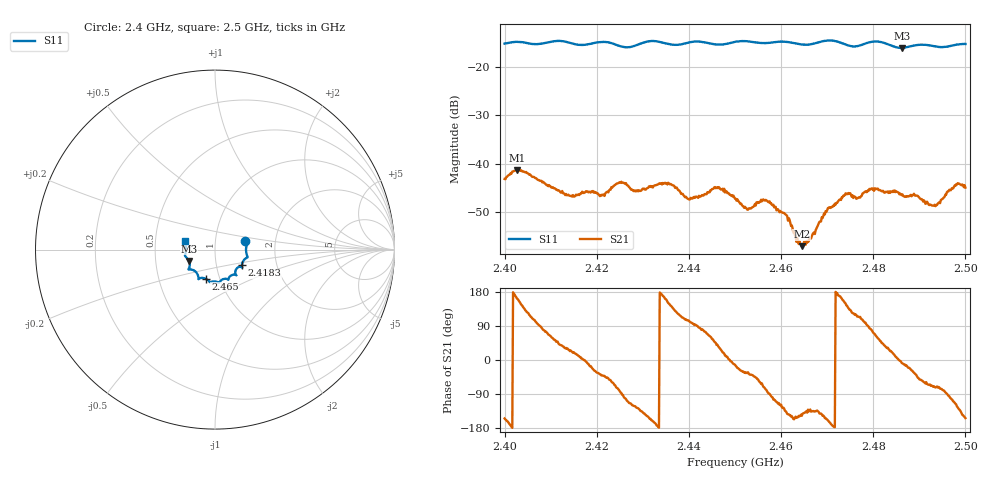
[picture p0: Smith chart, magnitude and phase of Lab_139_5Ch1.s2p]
# Hz S RI R 50
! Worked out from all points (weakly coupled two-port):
!   601 points, 2.4 GHz to 2.5 GHz, reference 50 ohm
!   highest |S21| = -41.30 dB at 2.4027 GHz (marker M1); lowest = -57.1 dB at 2.4645 GHz (marker M2)
!   lowest |S11| = -16.0 dB at 2.4862 GHz (marker M3), VSWR 1.37, Z = 37.1 - j4.83 ohm
!   |S11| at or under -10 dB: start of sweep to end of sweep
!   S12 and S22 are empty: the file has one direction only
!   S11 on the Smith chart (normalised r, x): 2.4 GHz: 1.40, +0.13; 2.4183 GHz: 1.33, -0.24; 2.465 GHz: 0.86, -0.29; 2.5 GHz: 0.71, +0.07
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2.4e9  0.169 0.0457  -0.00626 -0.00302  0 0  0 0
2.402667e9  0.1794 0.0339  -0.0082 0.00261  0 0  0 0
2.413167e9  0.1779 -0.0447  0.00406 0.00244  0 0  0 0
2.416667e9  0.155 -0.0686  0.00491 0.000324  0 0  0 0
2.418333e9  0.1497 -0.087  0.00499 -0.00117  0 0  0 0
2.433333e9  0.1167 -0.1416  -0.00612 -0.000396  0 0  0 0
2.440167e9  0.0754 -0.1641  -0.000799 0.00418  0 0  0 0
2.446e9  0.0531 -0.1629  0.00433 0.00359  0 0  0 0
2.45e9  0.0252 -0.1808  0.00424 -0.000946  0 0  0 0
2.452833e9  0.0187 -0.1838  0.00282 -0.0018  0 0  0 0
2.457333e9  -0.0126 -0.1777  9.7e-05 -0.00399  0 0  0 0
2.461333e9  -0.0311 -0.1794  -0.00226 -0.00176  0 0  0 0
2.4645e9  -0.0476 -0.1646  -0.00118 -0.000761  0 0  0 0
2.465e9  -0.0527 -0.1621  -0.00119 -0.00101  0 0  0 0
2.466667e9  -0.0713 -0.1577  -0.00127 -0.00124  0 0  0 0
2.469833e9  -0.0918 -0.164  -0.0029 -0.0013  0 0  0 0
2.474e9  -0.0957 -0.1423  -0.00424 0.00253  0 0  0 0
2.483333e9  -0.142 -0.0959  0.00436 0.0024  0 0  0 0
2.486167e9  -0.1446 -0.0635  0.00468 -0.000631  0 0  0 0
2.493333e9  -0.1635 -0.0162  0.0012 -0.00356  0 0  0 0
2.498167e9  -0.167 0.0373  -0.00328 -0.00513  0 0  0 0
2.5e9  -0.1669 0.0473  -0.00505 -0.00253  0 0  0 0
